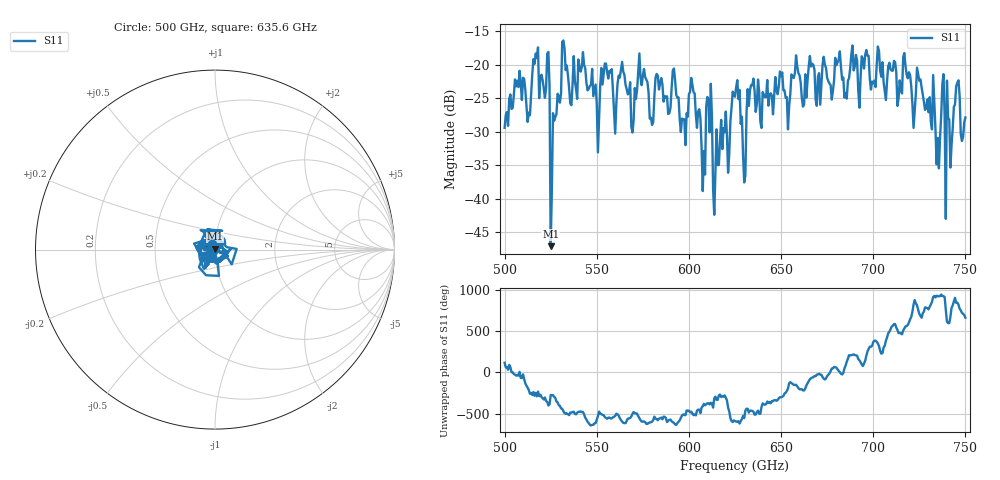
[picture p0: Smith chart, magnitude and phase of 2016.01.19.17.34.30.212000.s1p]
!Created with skrf (http://scikit-rf.org).
# GHz S RI R 50.0
!freq ReS11 ImS11
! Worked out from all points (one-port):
!   401 points, 500 GHz to 750 GHz, reference 50 ohm
!   lowest |S11| = -47.1 dB at 525 GHz (marker M1), VSWR 1.01, Z = 50 + j0.441 ohm
!   |S11| at or under -10 dB: start of sweep to end of sweep
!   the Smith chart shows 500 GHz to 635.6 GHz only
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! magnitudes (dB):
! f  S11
! 500 GHz  -29.4
! 506.9 GHz  -22.4
! 513.1 GHz  -27.2
! 516.9 GHz  -18.4
! 523.1 GHz  -18.4
! 525 GHz  -47.1
! 526.2 GHz  -27.2
! 531.2 GHz  -16.6
! 550 GHz  -25.9
! 562.5 GHz  -21.9
! 570 GHz  -28.3
! 574.4 GHz  -23.1
! 579.4 GHz  -27.9
! 593.8 GHz  -25.0
! 596.9 GHz  -28.2
! 601.9 GHz  -23.0
! 607.5 GHz  -38.9
! 611.2 GHz  -30.1
! 614.4 GHz  -36.3
! 625 GHz  -24.8
! 629.4 GHz  -33.5
! 634.4 GHz  -23.1
! 656.2 GHz  -21.8
! 687.5 GHz  -20.5
! 718.8 GHz  -22.0
! 735 GHz  -30.9
! 745.6 GHz  -22.7
! 750 GHz  -27.9
